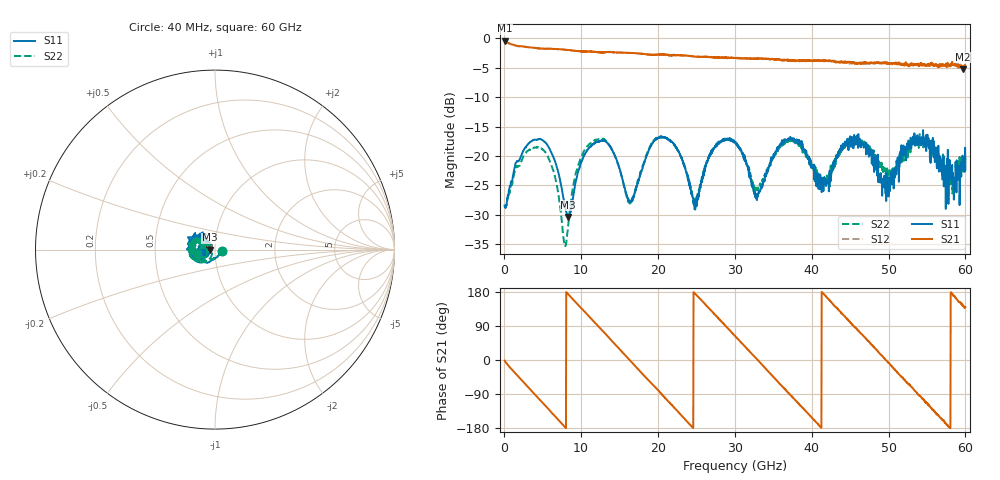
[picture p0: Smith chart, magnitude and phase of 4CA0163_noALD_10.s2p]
! File created by 'SoftPlot +Plus+ Measurement Management Software'
! SoftPlot +Plus+ Measurement Management Software
! Start 40.000000 MHz  Stop 60.000000 GHz  Points 1601
# MHZ S RI R 50
! S-Parameter data, F S11 S21 S12 S22
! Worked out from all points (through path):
!   1601 points, 40 MHz to 60 GHz, reference 50 ohm
!   highest |S21| = -0.36 dB at 40 MHz (marker M1); lowest = -5.2 dB at 59.66 GHz (marker M2)
!   group delay of S21, straight-line fit = 60.1 ps
!   lowest |S11| = -30.4 dB at 8.322 GHz (marker M3), VSWR 1.06, Z = 47.1 - j0.0568 ohm
!   |S11| at or under -10 dB: start of sweep to end of sweep
!   |S22| runs from -35.3 to -16.3 dB; largest |S21 - S12| = 0.042
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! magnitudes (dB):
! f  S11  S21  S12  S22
! 40 MHz  -28.4  -0.4  -0.3  -28.4
! 4.687 GHz  -17.1  -1.7  -1.7  -18.6
! 6.523 GHz  -20.7  -1.8  -1.8  -23.2
! 7.835 GHz  -28.1  -1.9  -1.9  -34.9
! 8.322 GHz  -30.4  -2.0  -2.0  -31.8
! 10.05 GHz  -21.0  -2.2  -2.2  -20.1
! 13.23 GHz  -17.6  -2.3  -2.3  -17.4
! 16.38 GHz  -27.9  -2.5  -2.5  -27.6
! 20.05 GHz  -16.9  -2.8  -2.7  -16.8
! 24.85 GHz  -29.1  -3.1  -3.0  -27.6
! 27.21 GHz  -18.7  -3.2  -3.2  -18.7
! 30.02 GHz  -17.6  -3.3  -3.3  -17.7
! 32.79 GHz  -27.2  -3.4  -3.4  -25.5
! 36.62 GHz  -17.2  -3.6  -3.5  -17.6
! 40.03 GHz  -21.6  -3.7  -3.8  -21.4
! 42.01 GHz  -24.6  -3.8  -3.9  -24.1
! 45.91 GHz  -16.5  -4.2  -4.2  -17.6
! 50.03 GHz  -23.7  -4.3  -4.2  -23.6
! 53.48 GHz  -18.2  -4.4  -4.3  -17.5
! 57.6 GHz  -20.5  -4.4  -4.6  -23.1
! 59.66 GHz  -20.7  -5.2  -5.1  -20.8
! 60 GHz  -22.3  -4.9  -4.8  -20.2
